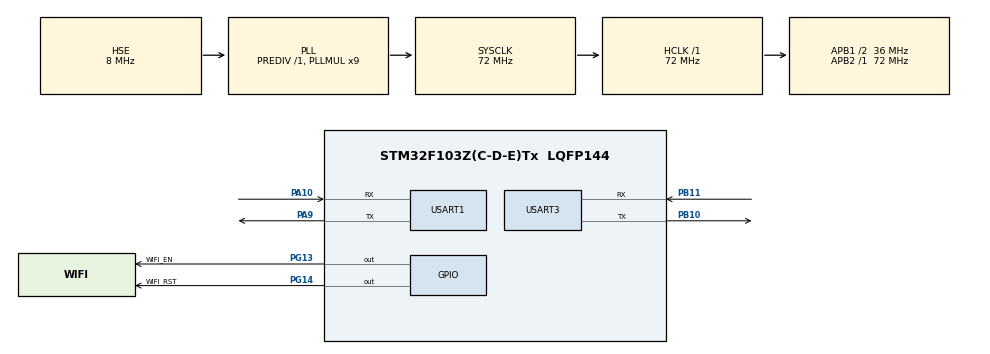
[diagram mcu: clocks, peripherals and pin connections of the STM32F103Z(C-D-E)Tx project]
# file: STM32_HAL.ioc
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Mcu.Family=STM32F1
Mcu.Name=STM32F103Z(C-D-E)Tx
Mcu.Package=LQFP144
NVIC.PriorityGroup=NVIC_PRIORITYGROUP_4
NVIC.USART1_IRQn=true\:8\:0\:true\:false\:true\:true\:true\:true
NVIC.USART3_IRQn=true\:5\:0\:true\:false\:true\:true\:true\:true
OSC_IN.Mode=HSE-External-Oscillator
OSC_IN.Signal=RCC_OSC_IN
OSC_OUT.Mode=HSE-External-Oscillator
OSC_OUT.Signal=RCC_OSC_OUT
PA10.Mode=Asynchronous
PA10.Signal=USART1_RX
PA13.Mode=Serial_Wire
PA13.Signal=SYS_JTMS-SWDIO
PA14.Mode=Serial_Wire
PA14.Signal=SYS_JTCK-SWCLK
PA9.Mode=Asynchronous
PA9.Signal=USART1_TX
PB10.Mode=Asynchronous
PB10.Signal=USART3_TX
PB11.Mode=Asynchronous
PB11.Signal=USART3_RX
PG13.GPIO_Label=WIFI_EN
PG13.Signal=GPIO_Output
PG14.GPIO_Label=WIFI_RST
PG14.PinState=GPIO_PIN_SET
PG14.Signal=GPIO_Output
ProjectManager.HeapSize=0x200
ProjectManager.StackSize=0x400
ProjectManager.TargetToolchain=CMake
RCC.AHBFreq_Value=72000000
RCC.APB1CLKDivider=RCC_HCLK_DIV2
RCC.APB1Freq_Value=36000000
RCC.APB1TimFreq_Value=72000000
RCC.APB2Freq_Value=72000000
RCC.APB2TimFreq_Value=72000000
RCC.HCLKFreq_Value=72000000
RCC.PLLMUL=RCC_PLL_MUL9
RCC.PLLSourceVirtual=RCC_PLLSOURCE_HSE
RCC.SYSCLKFreq_VALUE=72000000
RCC.SYSCLKSource=RCC_SYSCLKSOURCE_PLLCLK
RCC.USBFreq_Value=72000000
TIM6.Prescaler=72-1
USART1.VirtualMode=VM_ASYNC
USART3.VirtualMode=VM_ASYNC
VP_TIM6_VS_ClockSourceINT.Mode=Enable_Timer
board=custom

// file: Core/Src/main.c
/* USER CODE BEGIN Header */
/**
  ******************************************************************************
  * @file           : main.c
  * @brief          : Main program body
  ******************************************************************************
  * @attention
  *
  * Copyright (c) 2024 STMicroelectronics.
  * All rights reserved.
  *
  * This software is licensed under terms that can be found in the LICENSE file
  * in the root directory of this software component.
  * If no LICENSE file comes with this software, it is provided AS-IS.
  *
  ******************************************************************************
  */
/* USER CODE END Header */
#include "main.h"
#include "tim.h"
#include "usart.h"
#include "gpio.h"

/* USER CODE BEGIN Includes */

#include <stdio.h>
#include <string.h>
#include "esp8266.h"

/* USER CODE END Includes */

/* USER CODE BEGIN PM */

// R: PB5, G: PB0, B: PB1
#define LED_R 0xFFFFFFDF
#define LED_G 0xFFFFFFFE
#define LED_B 0xFFFFFFFD

/* USER CODE END PM */

/* USER CODE BEGIN PV */
extern UART_HandleTypeDef huart1;
extern UART_HandleTypeDef huart3;
extern char atBuffer[512];
uint32_t ledColorArray[] = {LED_R, LED_G, LED_B};

extern int wifiConnected;
extern int tcpEstablished;

/* USER CODE END PV */

void SystemClock_Config(void);

/* USER CODE BEGIN 0 */
int InitWIFI()
{
  ESP8266_Init();
  int retryCount = 0;

  // AT检查模块
  if (ESP8266_CheckAT() < 0) {
    printf("AT failed! check module!\r\n");
    return -1;
  }
  // 切换为STA模式
  if (ESP8266_EnterStationMode() < 0) {
    printf("Enter STA mode failed! check module!\r\n");
    return -1;
  }
  // 尝试连接WIFI
  while (1) {
    if (ESP8266_ConnectWIFI() < 0) {
      printf("connect WIFI failed! retrying...\r\n");
      HAL_Delay(500);
      retryCount++;
      if (retryCount >= 3) {
        printf("connect WIFI failed! give up now!\r\n");
        return -1;
      }
    } else {
      printf("connect to wifi success!\r\n");
      wifiConnected = 1;
      break;
    }
  }
  retryCount = 0;
  // 等待获取IP
  while (1)
  {
    if (ESP8266_GetIPStatus() < 0) {
      printf("Get IP failed! retrying...\r\n");
      HAL_Delay(500);
      retryCount++;
      if (retryCount >= 3) {
        printf("Get IP failed! give up now!\r\n");
        return -1;
      }
    } else {
      printf("Get IP success!\r\n");
      break;
    }
  }
  retryCount = 0;

  // 尝试TCP连接
  while (1)
  {
    ESP8266_TCPConnect("192.168.31.102", 9090);
    if (ESP8266_CheckTCPStatus() < 0) {
      printf("connect to tcp server failed! retrying...\r\n");
      HAL_Delay(500);
      retryCount++;
      if (retryCount >= 3) {
        printf("Connect to tcp server failed! give up now!\r\n");
        return -1;
      }
    } else {
      printf("connect to tcp server success!\r\n");
      break;
    }
  }

  return 0;
}
/* USER CODE END 0 */

int main(void)
{

  /* MCU Configuration--------------------------------------------------------*/

  /* Reset of all peripherals, Initializes the Flash interface and the Systick. */
  HAL_Init();

  /* Configure the system clock */
  SystemClock_Config();

  /* Initialize all configured peripherals */
  MX_GPIO_Init();
  MX_USART1_UART_Init();
  MX_TIM6_Init();
  MX_USART3_UART_Init();
  /* USER CODE BEGIN 2 */

  // start TIM6 for i2c delay
  HAL_TIM_Base_Start(&htim6);
  /* USER CODE END 2 */

  /* Infinite loop */
  /* USER CODE BEGIN WHILE */
  __HAL_RCC_GPIOB_CLK_ENABLE();

  if (InitWIFI() < 0) {
    printf("InitWIFI FAILED!\r\n");
  } else {
    printf("InitWIFI success!\r\n");
  }

  while (1)
  {
    /* USER CODE END WHILE */
    HAL_Delay(2000);

    /* USER CODE BEGIN 3 */

    HAL_Delay(500);
  }
  /* USER CODE END 3 */
}

void SystemClock_Config(void)
{
  RCC_OscInitTypeDef RCC_OscInitStruct = {0};
  RCC_ClkInitTypeDef RCC_ClkInitStruct = {0};

  /** Initializes the RCC Oscillators according to the specified parameters
  * in the RCC_OscInitTypeDef structure.
  */
  RCC_OscInitStruct.OscillatorType = RCC_OSCILLATORTYPE_HSE;
  RCC_OscInitStruct.HSEState = RCC_HSE_ON;
  RCC_OscInitStruct.HSEPredivValue = RCC_HSE_PREDIV_DIV1;
  RCC_OscInitStruct.HSIState = RCC_HSI_ON;
  RCC_OscInitStruct.PLL.PLLState = RCC_PLL_ON;
  RCC_OscInitStruct.PLL.PLLSource = RCC_PLLSOURCE_HSE;
  RCC_OscInitStruct.PLL.PLLMUL = RCC_PLL_MUL9;
  if (HAL_RCC_OscConfig(&RCC_OscInitStruct) != HAL_OK)
  {
    Error_Handler();
  }

  /** Initializes the CPU, AHB and APB buses clocks
  */
  RCC_ClkInitStruct.ClockType = RCC_CLOCKTYPE_HCLK|RCC_CLOCKTYPE_SYSCLK
                              |RCC_CLOCKTYPE_PCLK1|RCC_CLOCKTYPE_PCLK2;
  RCC_ClkInitStruct.SYSCLKSource = RCC_SYSCLKSOURCE_PLLCLK;
  RCC_ClkInitStruct.AHBCLKDivider = RCC_SYSCLK_DIV1;
  RCC_ClkInitStruct.APB1CLKDivider = RCC_HCLK_DIV2;
  RCC_ClkInitStruct.APB2CLKDivider = RCC_HCLK_DIV1;

  if (HAL_RCC_ClockConfig(&RCC_ClkInitStruct, FLASH_LATENCY_2) != HAL_OK)
  {
    Error_Handler();
  }
}

/* USER CODE BEGIN 4 */
int __io_putchar(int ch)
{
    HAL_UART_Transmit(&huart1, (uint8_t *)&ch, 1, HAL_MAX_DELAY);
    return 0;
}
/* USER CODE END 4 */

void Error_Handler(void)
{
  __disable_irq();
  while (1)
  {
  }
}
